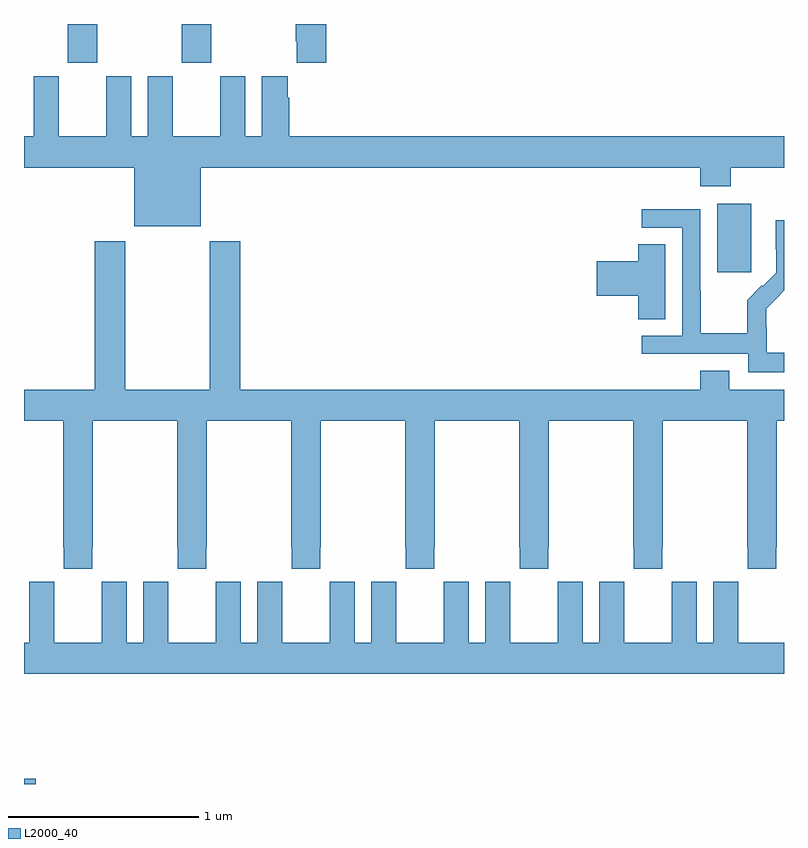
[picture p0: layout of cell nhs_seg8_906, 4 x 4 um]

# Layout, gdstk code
import gdstk
lib = gdstk.Library(unit=1e-6, precision=1e-09)
def R(c, l, rs):  # rectangles x0, y0, x1, y1
    for r in rs: c.add(gdstk.rectangle(r[:2], r[2:], *l))
def P(c, l, *ps):  # polygons
    for p in ps: c.add(gdstk.Polygon(p, *l))
L2000_40 = (2000, 40)

nhs_seg8_906 = lib.new_cell('nhs_seg8_906')
R(nhs_seg8_906, L2000_40, [(169,1135.9,169.063,1135.928), (172.649,1138.593,172.828,1138.954), (169.231,1139.697,169.386,1139.9), (169.831,1139.697,169.986,1139.9)])
P(nhs_seg8_906, L2000_40, [(170.591,1139.9),(170.431,1139.9),(170.431,1139.809),(170.435,1139.809),(170.435,1139.697),(170.591,1139.697)],
  [(169.93,1139.144),(172.559,1139.144),(172.559,1139.045),(172.719,1139.045),(172.719,1139.144),(173,1139.144),(173,1139.308),(170.396,1139.308),(170.396,1139.513),(170.389,1139.513),(170.389,1139.626),(170.252,1139.626),(170.252,1139.308),(170.164,1139.308),(170.164,1139.626),(170.033,1139.626),(170.033,1139.308),(169.783,1139.308),(169.783,1139.626),(169.652,1139.626),(169.652,1139.308),(169.564,1139.308),(169.564,1139.626),(169.433,1139.626),(169.433,1139.308),(169.183,1139.308),(169.183,1139.626),(169.052,1139.626),(169.052,1139.308),(169,1139.308),(169,1139.144),(169.58,1139.144),(169.58,1138.835),(169.93,1138.835)],
  [(173,1138.171),(172.908,1138.171),(172.908,1138.305),(172.906,1138.305),(172.906,1138.402),(172.98,1138.476),(172.979,1138.477),(173,1138.498),(173,1138.868),(172.956,1138.868),(172.956,1138.714),(172.958,1138.714),(172.958,1138.592),(172.887,1138.521),(172.884,1138.524),(172.807,1138.447),(172.807,1138.273),(172.563,1138.273),(172.563,1138.496),(172.56,1138.496),(172.56,1138.926),(172.251,1138.926),(172.251,1138.827),(172.464,1138.827),(172.464,1138.26),(172.251,1138.26),(172.251,1138.164),(172.812,1138.164),(172.812,1138.067),(173,1138.067)],
  [(169.533,1138.756),(169.373,1138.756),(169.373,1137.976),(169,1137.976),(169,1137.812),(169.207,1137.812),(169.207,1137.145),(169.209,1137.145),(169.209,1137.033),(169.359,1137.033),(169.359,1137.145),(169.362,1137.145),(169.362,1137.812),(169.807,1137.812),(169.807,1137.145),(169.809,1137.145),(169.809,1137.033),(169.959,1137.033),(169.959,1137.145),(169.962,1137.145),(169.962,1137.812),(170.407,1137.812),(170.407,1137.145),(170.409,1137.145),(170.409,1137.033),(170.559,1137.033),(170.559,1137.145),(170.562,1137.145),(170.562,1137.812),(171.007,1137.812),(171.007,1137.145),(171.009,1137.145),(171.009,1137.033),(171.159,1137.033),(171.159,1137.145),(171.162,1137.145),(171.162,1137.812),(171.607,1137.812),(171.607,1137.145),(171.609,1137.145),(171.609,1137.033),(171.759,1137.033),(171.759,1137.145),(171.762,1137.145),(171.762,1137.812),(172.207,1137.812),(172.207,1137.145),(172.209,1137.145),(172.209,1137.033),(172.359,1137.033),(172.359,1137.145),(172.362,1137.145),(172.362,1137.812),(172.807,1137.812),(172.807,1137.145),(172.809,1137.145),(172.809,1137.033),(172.959,1137.033),(172.959,1137.145),(172.962,1137.145),(172.962,1137.812),(173,1137.812),(173,1137.976),(172.711,1137.976),(172.711,1138.075),(172.559,1138.075),(172.559,1137.976),(170.138,1137.976),(170.138,1138.756),(169.978,1138.756),(169.978,1137.976),(169.533,1137.976)],
  [(172.375,1138.742),(172.232,1138.742),(172.232,1138.652),(172.014,1138.652),(172.014,1138.469),(172.232,1138.469),(172.232,1138.345),(172.375,1138.345)],
  [(173,1136.644),(172.759,1136.644),(172.759,1136.852),(172.758,1136.852),(172.758,1136.965),(172.628,1136.965),(172.628,1136.644),(172.54,1136.644),(172.54,1136.965),(172.41,1136.965),(172.41,1136.852),(172.409,1136.852),(172.409,1136.644),(172.159,1136.644),(172.159,1136.852),(172.158,1136.852),(172.158,1136.965),(172.028,1136.965),(172.028,1136.644),(171.94,1136.644),(171.94,1136.965),(171.81,1136.965),(171.81,1136.852),(171.809,1136.852),(171.809,1136.644),(171.559,1136.644),(171.559,1136.852),(171.558,1136.852),(171.558,1136.965),(171.428,1136.965),(171.428,1136.644),(171.34,1136.644),(171.34,1136.965),(171.21,1136.965),(171.21,1136.852),(171.209,1136.852),(171.209,1136.644),(170.959,1136.644),(170.959,1136.852),(170.958,1136.852),(170.958,1136.965),(170.828,1136.965),(170.828,1136.644),(170.74,1136.644),(170.74,1136.965),(170.61,1136.965),(170.61,1136.852),(170.609,1136.852),(170.609,1136.644),(170.359,1136.644),(170.359,1136.852),(170.358,1136.852),(170.358,1136.965),(170.228,1136.965),(170.228,1136.644),(170.14,1136.644),(170.14,1136.965),(170.01,1136.965),(170.01,1136.852),(170.009,1136.852),(170.009,1136.644),(169.759,1136.644),(169.759,1136.852),(169.758,1136.852),(169.758,1136.965),(169.628,1136.965),(169.628,1136.644),(169.54,1136.644),(169.54,1136.965),(169.41,1136.965),(169.41,1136.852),(169.409,1136.852),(169.409,1136.644),(169.159,1136.644),(169.159,1136.852),(169.158,1136.852),(169.158,1136.965),(169.028,1136.965),(169.028,1136.644),(169,1136.644),(169,1136.48),(173,1136.48)])

lib.write_gds('nhs_seg8_906.gds')
